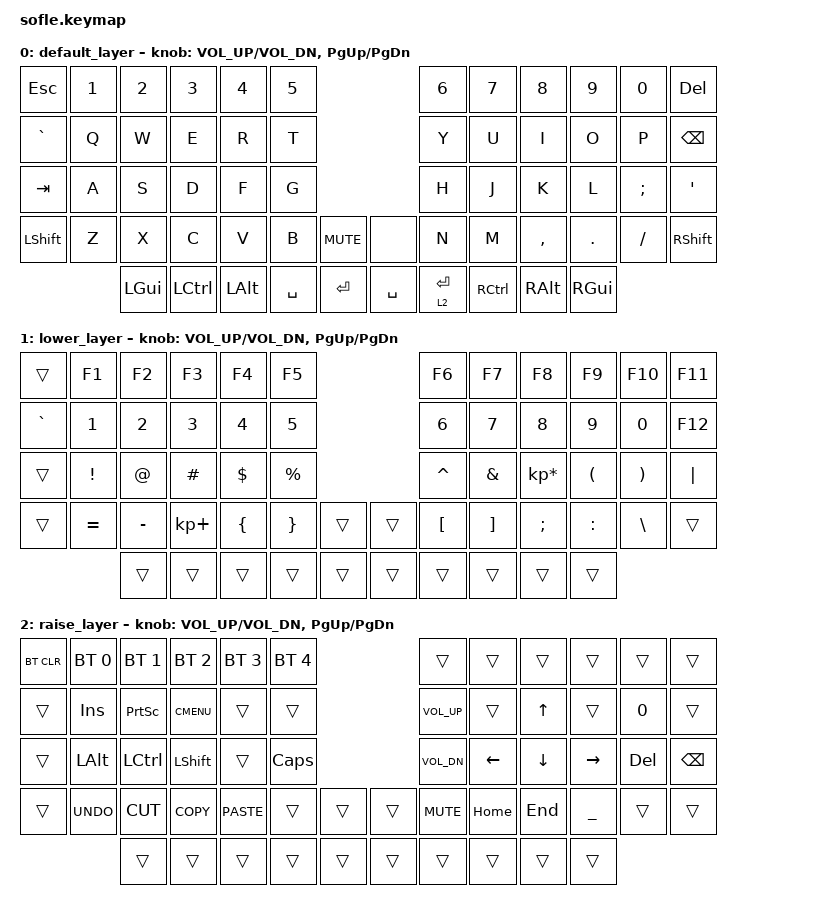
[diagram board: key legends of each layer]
/*
 * Copyright (c) 2020 The ZMK Contributors
 *
 * SPDX-License-Identifier: MIT
 */

#include <behaviors.dtsi>
#include <dt-bindings/zmk/keys.h>
#include <dt-bindings/zmk/bt.h>

/ {
    keymap {
        compatible = "zmk,keymap";

        default_layer {
// ------------------------------------------------------------------------------------------------------------
// | ESC   |  1  |  2  |  3   |  4   |  5   |                   |  6   |  7    |  8    |  9   |   0   | DEL   |
// | GRAVE |  Q  |  W  |  E   |  R   |  T   |                   |  Y   |  U    |  I    |  O   |   P   | BKSPC |
// |  TAB  |  A  |  S  |  D   |  F   |  G   |                   |  H   |  J    |  K    |  L   |   ;   |   '   |
// | SHIFT |  Z  |  X  |  C   |  V   |  B   |  MUTE  |  |       |  N   |  M    |  ,    |  .   |   /   | SHIFT |
//               | GUI | ctrl | ALT  | SPACE|  ENTER |  | SPACE | LAY  | CTRL  | ALT   | GUI  |
            bindings = <
&kp ESC   &kp N1 &kp N2   &kp N3       &kp N4    &kp N5                             &kp N6     &kp N7    &kp N8    &kp N9   &kp N0   &kp DEL
&kp GRAVE &kp Q  &kp W    &kp E        &kp R     &kp T                              &kp Y      &kp U     &kp I     &kp O    &kp P    &kp BSPC
&kp TAB   &kp A  &kp S    &kp D        &kp F     &kp G                              &kp H      &kp J     &kp K     &kp L    &kp SEMI &kp SQT
&kp LSHFT &kp Z  &kp X    &kp C        &kp V     &kp B        &kp C_MUTE &none      &kp N      &kp M     &kp COMMA &kp DOT  &kp FSLH &kp RSHFT
                 &kp LGUI &kp LCTRL    &kp LALT  &kp SPACE    &kp RET    &kp SPACE  &lt 2 RET  &kp RCTRL &kp RALT  &kp RGUI
            >;

            sensor-bindings = <&inc_dec_kp C_VOL_UP C_VOL_DN &inc_dec_kp PG_UP PG_DN>;
        };

        lower_layer {
// TODO: Some binds are waiting for shifted keycode support. *rerun*
// ------------------------------------------------------------------------------------------------------------
// |       |  F1 |  F2 |  F3  |  F4  |  F5  |                   |  F6  |  F7   |  F8   |  F9  |  F10  |  F11  |
// | `     |   1 |   2 |   3  |   4  |   5  |                   |   6  |   7   |   8   |   9  |    0  |  F12  |
// |       |  !  |  @  |  #   |  $   |  %   |                   |  ^   |  &    |  *    |  (   |   )   |   |   |
// |       |  =  |  -  |  +   |  {   |  }   |        |  |       |  [   |  ]    |  ;    |  :   |   \   |       |
//               |     |      |      |      |        |  |       |      |       |       |      |
            bindings = <
&trans    &kp F1    &kp F2    &kp F3      &kp F4    &kp F5                    &kp F6    &kp F7   &kp F8          &kp F9    &kp F10   &kp F11
&kp GRAVE &kp N1    &kp N2    &kp N3      &kp N4    &kp N5                    &kp N6    &kp N7   &kp N8          &kp N9    &kp N0    &kp F12
&trans    &kp EXCL  &kp AT    &kp HASH    &kp DLLR  &kp PRCNT                 &kp CARET &kp AMPS &kp KP_MULTIPLY &kp LPAR  &kp RPAR  &kp PIPE
&trans    &kp EQUAL &kp MINUS &kp KP_PLUS &kp LBRC  &kp RBRC  &trans   &trans &kp LBKT  &kp RBKT &kp SEMI        &kp COLON &kp BSLH  &trans
                    &trans    &trans      &trans    &trans    &trans   &trans &trans    &trans   &trans          &trans
            >;

            sensor-bindings = <&inc_dec_kp C_VOL_UP C_VOL_DN &inc_dec_kp PG_UP PG_DN>;
        };

        raise_layer {
// ------------------------------------------------------------------------------------------------------------
// |BTCLR| BT1  | BT2  |  BT3  |  BT4  |  BT5 |                |      |      |       |      |       |       |
// |     | INS  | PSCR | GUI   |       |      |                | V-UP |      |   ^   |      |       |       |
// |     | ALT  | CTRL | SHIFT |       | CAPS |                | V-DN |   <- |   v   |  ->  |  DEL  | BKSPC |
// |     | UNDO | CUT  | COPY  | PASTE |      |      |  |      | MUTE | HOME |  END  | UNDER|       |       |
//              |      |       |       |      |      |  |      |      |      |       |      |
            bindings = <
&bt BT_CLR &bt BT_SEL 0 &bt BT_SEL 1 &bt BT_SEL 2 &bt BT_SEL 3 &bt BT_SEL 4             &trans       &trans    &trans   &trans         &trans  &trans
&trans     &kp INS      &kp PSCRN    &kp K_CMENU  &trans       &trans                   &kp C_VOL_UP &trans    &kp UP   &trans         &kp N0  &trans
&trans     &kp LALT     &kp LCTRL    &kp LSHFT    &trans       &kp CLCK                 &kp C_VOL_DN &kp LEFT  &kp DOWN &kp RIGHT      &kp DEL &kp BSPC
&trans     &kp K_UNDO   &kp K_CUT    &kp K_COPY   &kp K_PASTE  &trans  &trans   &trans  &kp C_MUTE   &kp HOME  &kp END  &kp UNDERSCORE &trans  &trans
                        &trans       &trans       &trans       &trans  &trans   &trans  &trans       &trans    &trans   &trans
            >;

            sensor-bindings = <&inc_dec_kp C_VOL_UP C_VOL_DN &inc_dec_kp PG_UP PG_DN>;
        };
    };
};
